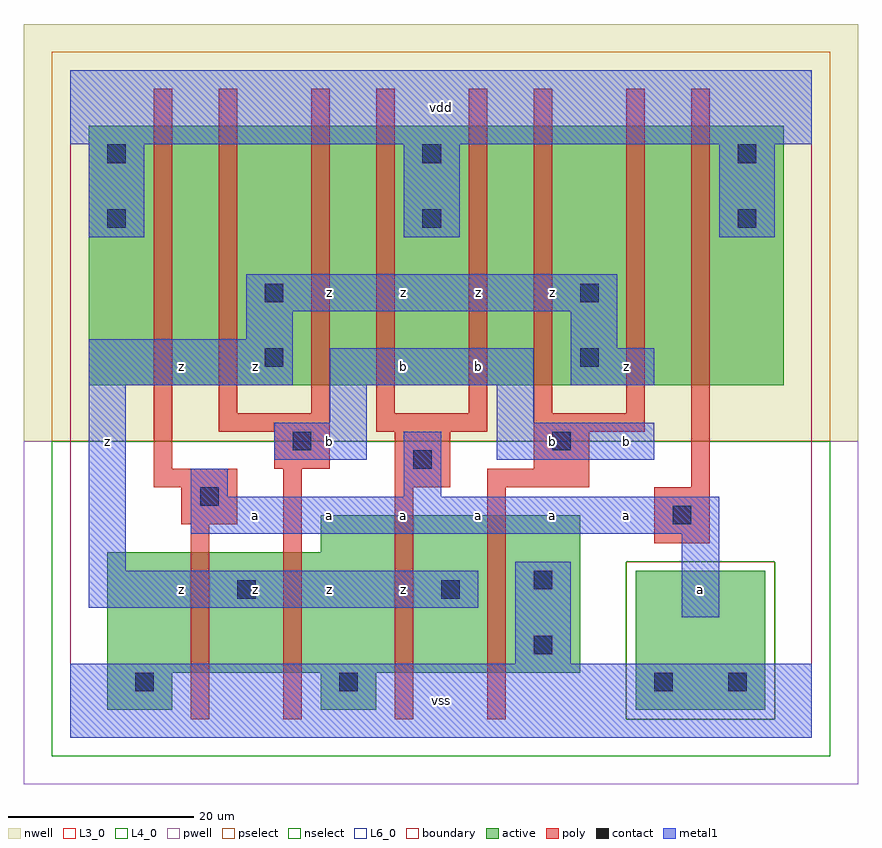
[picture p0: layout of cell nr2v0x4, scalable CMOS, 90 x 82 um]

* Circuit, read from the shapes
.subckt nr2v0x4 a b vdd vss z
M1 z a vss vss nfet w=13u l=2u
M2 vss b z vss nfet w=13u l=2u
M3 z a vss vss nfet w=17u l=2u
M4 vss b z vss nfet w=17u l=2u
M5 n1 a vdd n2 pfet w=28u l=2u
M6 z b n1 n2 pfet w=28u l=2u
M7 n3 b z n2 pfet w=28u l=2u
M8 vdd a n3 n2 pfet w=28u l=2u
M9 n4 a vdd n2 pfet w=28u l=2u
M10 z b n4 n2 pfet w=28u l=2u
M11 n5 b z n2 pfet w=28u l=2u
M12 vdd a n5 n2 pfet w=28u l=2u
.ends

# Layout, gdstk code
import gdstk
lib = gdstk.Library(unit=1e-6, precision=1e-09)
def R(c, l, rs):  # rectangles x0, y0, x1, y1
    for r in rs: c.add(gdstk.rectangle(r[:2], r[2:], *l))
def A(c, l, x, y, w, h, nx, ny, dx, dy):  # array of equal rectangles
    R(c, l, [(x+i*dx, y+j*dy, x+i*dx+w, y+j*dy+h) for i in range(nx) for j in range(ny)])
L3_0 = (3, 0)
L4_0 = (4, 0)
L6_0 = (6, 0)
contact = (25, 0)
pwell = (41, 0)
nwell = (42, 0)
active = (43, 0)
pselect = (44, 0)
nselect = (45, 0)
poly = (46, 0)
metal1 = (49, 0)
boundary = (63, 0)

nr2v0x4 = lib.new_cell('nr2v0x4')
R(nr2v0x4, L3_0, [(4,3,11,7), (27,3,33,7), (4,7,55,20), (27,20,55,24)])
R(nr2v0x4, L4_0, [(2,38,77,66)])
R(nr2v0x4, L6_0, [(61,3,75,18)])
A(nr2v0x4, contact, 4, 55, 2, 2, 3, 2, 34, 7)
R(nr2v0x4, contact, [(7,5,9,7), (29,5,31,7), (63,5,65,7), (71,5,73,7), (50,9,52,11), (18,15,20,17), (40,15,42,17), (50,16,52,18), (65,23,67,25), (14,25,16,27), (37,29,39,31), (24,31,26,33), (52,31,54,33), (21,40,23,42), (55,40,57,42), (21,47,23,49), (55,47,57,49)])
R(nr2v0x4, pwell, [(-5,-5,85,32)])
R(nr2v0x4, nwell, [(-5,32,85,77)])
R(nr2v0x4, active, [(4,3,11,7), (27,3,33,7), (61,3,75,18), (4,7,55,20), (27,20,55,24), (2,38,77,66)])
R(nr2v0x4, pselect, [(60,2,76,19), (-2,32,82,74)])
R(nr2v0x4, nselect, [(-2,-2,82,2), (-2,2,60,19), (76,2,82,19), (-2,19,82,32)])
A(nr2v0x4, poly, 16, 33, 12, 2, 3, 1, 17, 0)
R(nr2v0x4, poly, [(13,2,15,23), (23,2,25,29), (35,2,37,27), (45,2,47,27), (63,21,69,27), (12,23,18,27), (9,27,18,29), (35,27,41,33), (45,27,56,29), (67,27,69,70), (9,29,11,70), (22,29,28,33), (50,29,56,33), (16,35,18,70), (26,35,28,70), (33,35,35,70), (43,35,45,70), (50,35,52,70), (60,35,62,70)])
A(nr2v0x4, metal1, 2, 54, 6, 10, 3, 1, 34, 0)
R(nr2v0x4, metal1, [(0,0,80,8), (48,8,54,19), (66,13,70,22), (2,14,44,18), (2,18,6,38), (13,22,70,26), (13,26,17,29), (36,26,40,33), (22,30,32,34), (46,30,63,34), (28,34,32,38), (46,34,50,38), (2,38,24,43), (28,38,50,42), (54,38,63,42), (54,42,59,46), (19,43,24,46), (19,46,59,50), (0,64,80,72)])
R(nr2v0x4, boundary, [(0,0,80,72)])
nr2v0x4.add(gdstk.Label('z', (4,32), layer=49, texttype=0))
nr2v0x4.add(gdstk.Label('z', (20,16), layer=49, texttype=0))
nr2v0x4.add(gdstk.Label('z', (28,16), layer=49, texttype=0))
nr2v0x4.add(gdstk.Label('z', (12,16), layer=49, texttype=0))
nr2v0x4.add(gdstk.Label('a', (20,24), layer=49, texttype=0))
nr2v0x4.add(gdstk.Label('a', (28,24), layer=49, texttype=0))
nr2v0x4.add(gdstk.Label('b', (28,32), layer=49, texttype=0))
nr2v0x4.add(gdstk.Label('z', (12,40), layer=49, texttype=0))
nr2v0x4.add(gdstk.Label('z', (20,40), layer=49, texttype=0))
nr2v0x4.add(gdstk.Label('z', (28,48), layer=49, texttype=0))
nr2v0x4.add(gdstk.Label('vss', (40,4), layer=49, texttype=0))
nr2v0x4.add(gdstk.Label('z', (36,16), layer=49, texttype=0))
nr2v0x4.add(gdstk.Label('a', (36,24), layer=49, texttype=0))
nr2v0x4.add(gdstk.Label('a', (44,24), layer=49, texttype=0))
nr2v0x4.add(gdstk.Label('b', (36,40), layer=49, texttype=0))
nr2v0x4.add(gdstk.Label('b', (44,40), layer=49, texttype=0))
nr2v0x4.add(gdstk.Label('z', (36,48), layer=49, texttype=0))
nr2v0x4.add(gdstk.Label('z', (44,48), layer=49, texttype=0))
nr2v0x4.add(gdstk.Label('vdd', (40,68), layer=49, texttype=0))
nr2v0x4.add(gdstk.Label('a', (52,24), layer=49, texttype=0))
nr2v0x4.add(gdstk.Label('a', (60,24), layer=49, texttype=0))
nr2v0x4.add(gdstk.Label('b', (60,32), layer=49, texttype=0))
nr2v0x4.add(gdstk.Label('b', (52,32), layer=49, texttype=0))
nr2v0x4.add(gdstk.Label('z', (60,40), layer=49, texttype=0))
nr2v0x4.add(gdstk.Label('z', (52,48), layer=49, texttype=0))
nr2v0x4.add(gdstk.Label('a', (68,16), layer=49, texttype=0))

lib.write_gds('nr2v0x4.gds')
